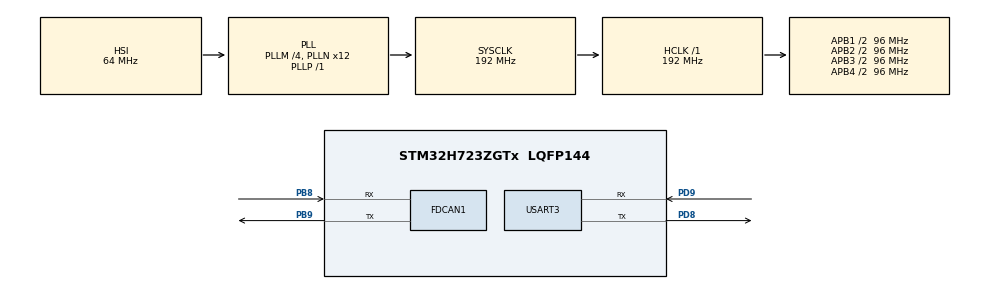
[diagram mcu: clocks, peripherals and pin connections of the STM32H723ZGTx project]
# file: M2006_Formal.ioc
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CORTEX_M7.default_mode_Activation=1
FDCAN1.CalculateBaudRateNominal=1000000
FDCAN1.CalculateTimeBitNominal=1000
FDCAN1.CalculateTimeQuantumNominal=62.5
FDCAN1.NominalPrescaler=4
FDCAN1.NominalTimeSeg1=11
FDCAN1.NominalTimeSeg2=4
FDCAN1.RxFifo0ElmtsNbr=8
FDCAN1.StdFiltersNbr=10
FDCAN1.TxFifoQueueElmtsNbr=3
Mcu.Family=STM32H7
Mcu.Name=STM32H723ZGTx
Mcu.Package=LQFP144
NVIC.FDCAN1_IT0_IRQn=true\:0\:0\:false\:false\:true\:true\:true\:true
NVIC.PriorityGroup=NVIC_PRIORITYGROUP_4
NVIC.TIM2_IRQn=true\:0\:0\:false\:false\:true\:true\:true\:true
NVIC.USART3_IRQn=true\:0\:0\:false\:false\:true\:true\:true\:true
PB8.Mode=FDCAN_Activate
PB8.Signal=FDCAN1_RX
PB9.Mode=FDCAN_Activate
PB9.Signal=FDCAN1_TX
PD8.Mode=Asynchronous
PD8.Signal=USART3_TX
PD9.Mode=Asynchronous
PD9.Signal=USART3_RX
PH0-OSC_IN.Mode=HSE-External-Oscillator
PH0-OSC_IN.Signal=RCC_OSC_IN
PH1-OSC_OUT.Mode=HSE-External-Oscillator
PH1-OSC_OUT.Signal=RCC_OSC_OUT
ProjectManager.HeapSize=0x200
ProjectManager.StackSize=0x400
ProjectManager.TargetToolchain=MDK-ARM V5.32
RCC.ADCFreq_Value=129000000
RCC.APB1Freq_Value=96000000
RCC.APB2Freq_Value=96000000
RCC.APB3Freq_Value=96000000
RCC.APB4Freq_Value=96000000
RCC.CortexFreq_Value=192000000
RCC.D1PPRE=RCC_APB3_DIV2
RCC.D2PPRE1=RCC_APB1_DIV2
RCC.D2PPRE2=RCC_APB2_DIV2
RCC.D3PPRE=RCC_APB4_DIV2
RCC.DIVM1=4
RCC.DIVN1=12
RCC.DIVP1=1
RCC.DIVQ1=3
RCC.HCLKFreq_Value=192000000
RCC.HSE_VALUE=24000000
RCC.PLL2FRACN=0
RCC.PLL3FRACN=0
RCC.PLLFRACN=0
RCC.SYSCLKFreq_VALUE=192000000
RCC.SYSCLKSource=RCC_SYSCLKSOURCE_PLLCLK
RCC.USBFreq_Value=64000000
TIM2.Period=1000-1
TIM2.Prescaler=200-1
USART3.VirtualMode-Asynchronous=VM_ASYNC
VP_MEMORYMAP_VS_MEMORYMAP.Mode=CurAppReg
VP_TIM2_VS_ClockSourceINT.Mode=Internal
board=custom

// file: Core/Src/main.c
/* USER CODE BEGIN Header */
/**
  ******************************************************************************
  * @file           : main.c
  * @brief          : Main program body
  ******************************************************************************
  * @attention
  *
  * Copyright (c) 2026 STMicroelectronics.
  * All rights reserved.
  *
  * This software is licensed under terms that can be found in the LICENSE file
  * in the root directory of this software component.
  * If no LICENSE file comes with this software, it is provided AS-IS.
  *
  ******************************************************************************
  */
/* USER CODE END Header */
#include "main.h"
#include "fdcan.h"
#include "tim.h"
#include "usart.h"
#include "gpio.h"

/* USER CODE BEGIN Includes */
#include "m2006.h"
#include <stdio.h>
#include "tim_it.h"
/* USER CODE END Includes */

void SystemClock_Config(void);
static void MPU_Config(void);

/* USER CODE BEGIN 0 */
void HAL_FDCAN_RxFifo0Callback(FDCAN_HandleTypeDef *hfdcan, uint32_t RxFifo0ITs){
	uint8_t rx_data[8];
    FDCAN_RxHeaderTypeDef rx_header;

    if((RxFifo0ITs & FDCAN_IT_RX_FIFO0_NEW_MESSAGE) != 0)
    {
        HAL_FDCAN_GetRxMessage(hfdcan, FDCAN_RX_FIFO0, &rx_header, rx_data);

        if(rx_header.Identifier == 0x201)
        {
            Motor_UpdateTotalAngle(&motor[0], rx_data);
        }
				else if(rx_header.Identifier == 0x202)
				{
						Motor_UpdateTotalAngle(&motor[1], rx_data);
				}
    }
}

volatile uint32_t tim2_cnt = 0;
volatile uint32_t tim2_flag = 0;
//extern int16_t cmd;
/* USER CODE END 0 */

int main(void)
{

  /* MPU Configuration--------------------------------------------------------*/
  MPU_Config();

  /* MCU Configuration--------------------------------------------------------*/

  /* Reset of all peripherals, Initializes the Flash interface and the Systick. */
  HAL_Init();

  /* Configure the system clock */
  SystemClock_Config();

  /* Initialize all configured peripherals */
  MX_GPIO_Init();
  MX_FDCAN1_Init();
  MX_TIM2_Init();
  MX_USART3_UART_Init();
  /* USER CODE BEGIN 2 */
  fdcan_filter_init();
	HAL_FDCAN_Start(&hfdcan1);

	Motor_Init();
	motor[0].last_angle = motor[0].angle;
	motor[0].total_angle = 0;
	motor[1].last_angle = motor[1].angle;
	motor[1].total_angle = 0;

	motor_target[0] = 8192 * 20 * 5;
	motor_target[1] = 8192 * 20 * 5;

	HAL_FDCAN_ActivateNotification(&hfdcan1, FDCAN_IT_RX_FIFO0_NEW_MESSAGE, 0);
	HAL_TIM_Base_Start_IT(&htim2);

	extern void Vofa_FireWater(float f0,float f1,float f2,float f3,float f4,float f5,float f6,float f7);

  /* USER CODE END 2 */

  /* Infinite loop */
  while (1)
  {

    /* USER CODE BEGIN 3 */

		static uint32_t cnt=0;
    cnt++;
    if(cnt>=2)
    {
        cnt=0;
        Vofa_FireWater(vofa_buf[0],vofa_buf[1],vofa_buf[2],vofa_buf[3],vofa_buf[4],vofa_buf[5],vofa_buf[6],vofa_buf[7]);
    }

		/*if(tim2_flag == 1)
		{
			//FDCAN_Send_Current(500, 500);
			//HAL_Delay(2);
			tim2_flag = 0;

		}*/
  }
  /* USER CODE END 3 */
}

void SystemClock_Config(void)
{
  RCC_OscInitTypeDef RCC_OscInitStruct = {0};
  RCC_ClkInitTypeDef RCC_ClkInitStruct = {0};

  /** Supply configuration update enable
  */
  HAL_PWREx_ConfigSupply(PWR_LDO_SUPPLY);

  /** Configure the main internal regulator output voltage
  */
  __HAL_PWR_VOLTAGESCALING_CONFIG(PWR_REGULATOR_VOLTAGE_SCALE1);

  while(!__HAL_PWR_GET_FLAG(PWR_FLAG_VOSRDY)) {}

  /** Initializes the RCC Oscillators according to the specified parameters
  * in the RCC_OscInitTypeDef structure.
  */
  RCC_OscInitStruct.OscillatorType = RCC_OSCILLATORTYPE_HSI;
  RCC_OscInitStruct.HSIState = RCC_HSI_DIV1;
  RCC_OscInitStruct.HSICalibrationValue = 64;
  RCC_OscInitStruct.PLL.PLLState = RCC_PLL_ON;
  RCC_OscInitStruct.PLL.PLLSource = RCC_PLLSOURCE_HSI;
  RCC_OscInitStruct.PLL.PLLM = 4;
  RCC_OscInitStruct.PLL.PLLN = 12;
  RCC_OscInitStruct.PLL.PLLP = 1;
  RCC_OscInitStruct.PLL.PLLQ = 3;
  RCC_OscInitStruct.PLL.PLLR = 2;
  RCC_OscInitStruct.PLL.PLLRGE = RCC_PLL1VCIRANGE_3;
  RCC_OscInitStruct.PLL.PLLVCOSEL = RCC_PLL1VCOWIDE;
  RCC_OscInitStruct.PLL.PLLFRACN = 0;
  if (HAL_RCC_OscConfig(&RCC_OscInitStruct) != HAL_OK)
  {
    Error_Handler();
  }

  /** Initializes the CPU, AHB and APB buses clocks
  */
  RCC_ClkInitStruct.ClockType = RCC_CLOCKTYPE_HCLK|RCC_CLOCKTYPE_SYSCLK
                              |RCC_CLOCKTYPE_PCLK1|RCC_CLOCKTYPE_PCLK2
                              |RCC_CLOCKTYPE_D3PCLK1|RCC_CLOCKTYPE_D1PCLK1;
  RCC_ClkInitStruct.SYSCLKSource = RCC_SYSCLKSOURCE_PLLCLK;
  RCC_ClkInitStruct.SYSCLKDivider = RCC_SYSCLK_DIV1;
  RCC_ClkInitStruct.AHBCLKDivider = RCC_HCLK_DIV1;
  RCC_ClkInitStruct.APB3CLKDivider = RCC_APB3_DIV2;
  RCC_ClkInitStruct.APB1CLKDivider = RCC_APB1_DIV2;
  RCC_ClkInitStruct.APB2CLKDivider = RCC_APB2_DIV2;
  RCC_ClkInitStruct.APB4CLKDivider = RCC_APB4_DIV2;

  if (HAL_RCC_ClockConfig(&RCC_ClkInitStruct, FLASH_LATENCY_2) != HAL_OK)
  {
    Error_Handler();
  }
}

 /* MPU Configuration */

void MPU_Config(void)
{
  MPU_Region_InitTypeDef MPU_InitStruct = {0};

  /* Disables the MPU */
  HAL_MPU_Disable();

  /** Initializes and configures the Region and the memory to be protected
  */
  MPU_InitStruct.Enable = MPU_REGION_ENABLE;
  MPU_InitStruct.Number = MPU_REGION_NUMBER0;
  MPU_InitStruct.BaseAddress = 0x0;
  MPU_InitStruct.Size = MPU_REGION_SIZE_4GB;
  MPU_InitStruct.SubRegionDisable = 0x87;
  MPU_InitStruct.TypeExtField = MPU_TEX_LEVEL0;
  MPU_InitStruct.AccessPermission = MPU_REGION_NO_ACCESS;
  MPU_InitStruct.DisableExec = MPU_INSTRUCTION_ACCESS_DISABLE;
  MPU_InitStruct.IsShareable = MPU_ACCESS_SHAREABLE;
  MPU_InitStruct.IsCacheable = MPU_ACCESS_NOT_CACHEABLE;
  MPU_InitStruct.IsBufferable = MPU_ACCESS_NOT_BUFFERABLE;

  HAL_MPU_ConfigRegion(&MPU_InitStruct);
  /* Enables the MPU */
  HAL_MPU_Enable(MPU_PRIVILEGED_DEFAULT);

}

void Error_Handler(void)
{
  __disable_irq();
  while (1)
  {
  }
}
